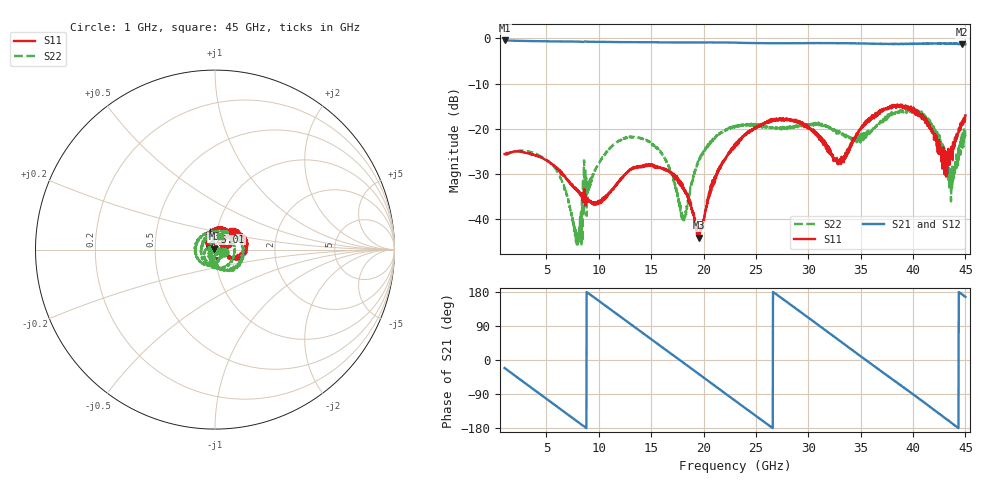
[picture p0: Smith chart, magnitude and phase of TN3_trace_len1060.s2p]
!Keysight Technologies,N5247B,MY61255062,A.19.80.06
!Date: Thursday, May 21, 2026 12:15:07
!Correction: S11(Cdelta 2-Port  )
!S21(Cdelta 2-Port  )
!S12(Cdelta 2-Port  )
!S22(Cdelta 2-Port  )
!S2P File: Measurements: S11, S21, S12, S22:
# Hz S  dB  R 50
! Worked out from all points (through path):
!   1601 points, 1 GHz to 45 GHz, reference 50 ohm
!   highest |S21| = -0.47 dB at 1 GHz (marker M1); lowest = -1.3 dB at 44.7 GHz (marker M2)
!   group delay of S21, straight-line fit = 56.2 ps
!   lowest |S11| = -44.1 dB at 19.56 GHz (marker M3), VSWR 1.01, Z = 49.7 + j0.543 ohm
!   |S11| at or under -10 dB: start of sweep to end of sweep
!   |S22| runs from -45.9 to -15.7 dB; largest |S21 - S12| = 0.014
!   S11 on the Smith chart (normalised r, x): 1 GHz: 1.11, -0.03; 25.01 GHz: 0.93, +0.19; 45 GHz: 1.19, +0.25
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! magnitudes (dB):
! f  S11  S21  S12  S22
! 1 GHz  -25.6  -0.5  -0.5  -25.6
! 5.125 GHz  -27.2  -0.7  -0.7  -27.2
! 6.555 GHz  -29.9  -0.7  -0.7  -32.0
! 7.848 GHz  -33.4  -0.7  -0.7  -43.0
! 8.342 GHz  -34.6  -0.8  -0.8  -45.9
! 8.672 GHz  -34.0  -0.7  -0.7  -29.9
! 11.42 GHz  -33.0  -0.8  -0.8  -23.5
! 15.69 GHz  -28.4  -0.9  -0.9  -24.6
! 18.05 GHz  -32.8  -0.9  -0.9  -40.1
! 19.56 GHz  -44.1  -0.9  -0.9  -26.8
! 20.91 GHz  -32.5  -0.9  -0.9  -22.6
! 23 GHz  -23.8  -1.0  -1.0  -19.5
! 25.01 GHz  -19.7  -1.1  -1.1  -19.3
! 30.34 GHz  -20.3  -1.0  -1.0  -18.9
! 32.98 GHz  -26.9  -1.1  -1.1  -21.2
! 34.83 GHz  -20.6  -1.1  -1.1  -21.5
! 37.69 GHz  -15.5  -1.2  -1.3  -16.9
! 41.15 GHz  -17.9  -1.2  -1.2  -17.0
! 42.94 GHz  -24.2  -1.2  -1.1  -26.9
! 43.6 GHz  -26.5  -1.1  -1.2  -28.6
! 44.7 GHz  -18.7  -1.3  -1.3  -22.2
! 45 GHz  -17.0  -1.3  -1.3  -21.7
